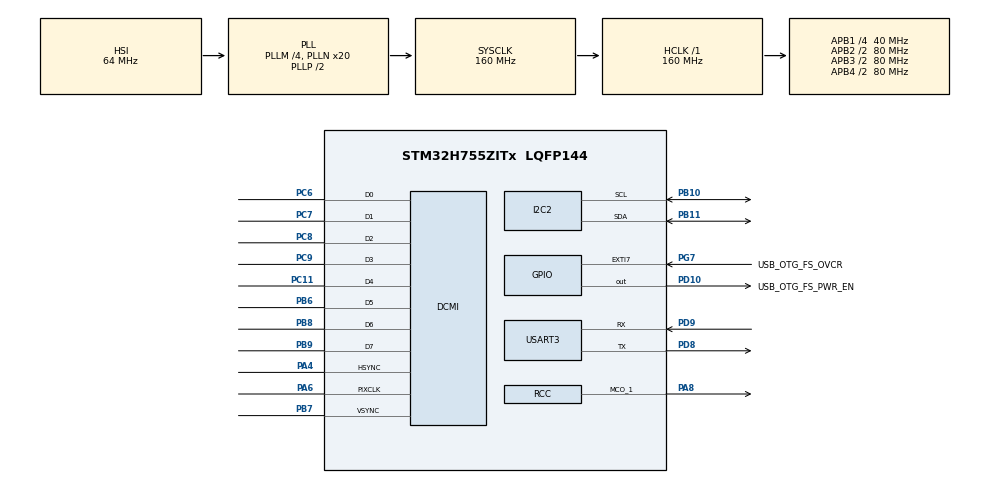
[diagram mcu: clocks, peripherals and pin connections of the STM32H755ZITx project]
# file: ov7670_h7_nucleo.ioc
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CortexM4.IPs=FATFS_M4\:I,FREERTOS_M4\:I,IWDG2\:I,RCC,WWDG2\:I,DMA,BDMA,MDMA,NVIC2\:I,USART3,DEBUG,PDM2PCM_M4\:I,PWR,RESMGR_UTILITY,SYS_M4\:I,USB_DEVICE_M4\:I,USB_HOST_M4\:I,CORTEX_M4\:I,GPIO,OPENAMP_M4\:I,VREFBUF,NUCLEO-H755ZI-Q
CortexM7.IPs=FATFS_M7\:I,FREERTOS_M7\:I,IWDG1\:I,RCC\:I,WWDG1\:I,DMA\:I,BDMA\:I,MDMA\:I,NVIC1\:I,USART3\:I,SYS\:I,CORTEX_M7\:I,DEBUG\:I,PDM2PCM_M7\:I,PWR\:I,RESMGR_UTILITY\:I,USB_DEVICE_M7\:I,USB_HOST_M7\:I,GPIO\:I,OPENAMP_M7\:I,VREFBUF\:I,NUCLEO-H755ZI-Q\:I,I2C2\:I,DCMI\:I
DCMI.HSPolarity=DCMI_HSPOLARITY_LOW
DCMI.JPEGMode=DCMI_JPEG_DISABLE
DCMI.PCKPolarity=DCMI_PCKPOLARITY_RISING
DCMI.VSPolarity=DCMI_VSPOLARITY_HIGH
Dma.DCMI.0.Direction=DMA_PERIPH_TO_MEMORY
Dma.DCMI.0.EventEnable=DISABLE
Dma.DCMI.0.FIFOMode=DMA_FIFOMODE_ENABLE
Dma.DCMI.0.FIFOThreshold=DMA_FIFO_THRESHOLD_FULL
Dma.DCMI.0.Instance=DMA1_Stream0
Dma.DCMI.0.MemBurst=DMA_MBURST_SINGLE
Dma.DCMI.0.MemDataAlignment=DMA_MDATAALIGN_WORD
Dma.DCMI.0.MemInc=DMA_MINC_ENABLE
Dma.DCMI.0.Mode=DMA_NORMAL
Dma.DCMI.0.PeriphBurst=DMA_PBURST_SINGLE
Dma.DCMI.0.PeriphDataAlignment=DMA_PDATAALIGN_WORD
Dma.DCMI.0.PeriphInc=DMA_PINC_DISABLE
Dma.DCMI.0.Polarity=HAL_DMAMUX_REQ_GEN_RISING
Dma.DCMI.0.Priority=DMA_PRIORITY_LOW
Dma.DCMI.0.RequestNumber=1
Dma.DCMI.0.SignalID=NONE
Dma.DCMI.0.SyncEnable=DISABLE
Dma.DCMI.0.SyncPolarity=HAL_DMAMUX_SYNC_NO_EVENT
Dma.DCMI.0.SyncRequestNumber=1
Dma.DCMI.0.SyncSignalID=NONE
Dma.Request0=DCMI
I2C2.Timing=0x00909BEB
Mcu.Family=STM32H7
Mcu.Name=STM32H755ZITx
Mcu.Package=LQFP144
NVIC1.DCMI_IRQn=true\:0\:0\:false\:false\:true\:true\:true\:true
NVIC1.DMA1_Stream0_IRQn=true\:0\:0\:false\:false\:true\:false\:true\:true
NVIC1.PriorityGroup=NVIC_PRIORITYGROUP_4
NVIC2.PriorityGroup=NVIC_PRIORITYGROUP_4
PA1.PinAttribute=CortexM4
PA1.Signal=ETH_REF_CLK
PA11.PinAttribute=CortexM7
PA11.Signal=USB_OTG_FS_DM
PA12.PinAttribute=CortexM7
PA12.Signal=USB_OTG_FS_DP
PA2.PinAttribute=CortexM4
PA2.Signal=ETH_MDIO
PA4.GPIO_Speed=GPIO_SPEED_FREQ_VERY_HIGH
PA4.Mode=Slave_8_bits_External_Synchro
PA4.PinAttribute=CortexM7
PA4.Signal=DCMI_HSYNC
PA6.GPIO_Speed=GPIO_SPEED_FREQ_VERY_HIGH
PA6.Mode=Slave_8_bits_External_Synchro
PA6.PinAttribute=CortexM7
PA6.Signal=DCMI_PIXCLK
PA7.PinAttribute=CortexM4
PA7.Signal=ETH_CRS_DV
PA8.Mode=Clock-out-1
PA8.PinAttribute=Free
PA8.Signal=RCC_MCO_1
PB10.GPIO_Speed=GPIO_SPEED_FREQ_VERY_HIGH
PB10.Mode=I2C
PB10.PinAttribute=CortexM7
PB10.Signal=I2C2_SCL
PB11.GPIO_Speed=GPIO_SPEED_FREQ_VERY_HIGH
PB11.Mode=I2C
PB11.PinAttribute=CortexM7
PB11.Signal=I2C2_SDA
PB13.PinAttribute=CortexM4
PB13.Signal=ETH_TXD1
PB6.GPIO_Speed=GPIO_SPEED_FREQ_VERY_HIGH
PB6.Mode=Slave_8_bits_External_Synchro
PB6.PinAttribute=CortexM7
PB6.Signal=DCMI_D5
PB7.GPIO_Speed=GPIO_SPEED_FREQ_VERY_HIGH
PB7.Mode=Slave_8_bits_External_Synchro
PB7.PinAttribute=CortexM7
PB7.Signal=DCMI_VSYNC
PB8.GPIO_Speed=GPIO_SPEED_FREQ_VERY_HIGH
PB8.Mode=Slave_8_bits_External_Synchro
PB8.PinAttribute=CortexM7
PB8.Signal=DCMI_D6
PB9.GPIO_Speed=GPIO_SPEED_FREQ_VERY_HIGH
PB9.Mode=Slave_8_bits_External_Synchro
PB9.PinAttribute=CortexM7
PB9.Signal=DCMI_D7
PC1.PinAttribute=CortexM4
PC1.Signal=ETH_MDC
PC11.GPIO_Speed=GPIO_SPEED_FREQ_VERY_HIGH
PC11.Mode=Slave_8_bits_External_Synchro
PC11.PinAttribute=CortexM7
PC11.Signal=DCMI_D4
PC14-OSC32_IN\ (OSC32_IN).PinAttribute=Free
PC14-OSC32_IN\ (OSC32_IN).Signal=RCC_OSC32_IN
PC15-OSC32_OUT\ (OSC32_OUT).PinAttribute=Free
PC15-OSC32_OUT\ (OSC32_OUT).Signal=RCC_OSC32_OUT
PC4.PinAttribute=CortexM4
PC4.Signal=ETH_RXD0
PC5.PinAttribute=CortexM4
PC5.Signal=ETH_RXD1
PC6.GPIO_Speed=GPIO_SPEED_FREQ_VERY_HIGH
PC6.Mode=Slave_8_bits_External_Synchro
PC6.PinAttribute=CortexM7
PC6.Signal=DCMI_D0
PC7.GPIO_Speed=GPIO_SPEED_FREQ_VERY_HIGH
PC7.Mode=Slave_8_bits_External_Synchro
PC7.PinAttribute=CortexM7
PC7.Signal=DCMI_D1
PC8.GPIO_Speed=GPIO_SPEED_FREQ_VERY_HIGH
PC8.Mode=Slave_8_bits_External_Synchro
PC8.PinAttribute=CortexM7
PC8.Signal=DCMI_D2
PC9.GPIO_Speed=GPIO_SPEED_FREQ_VERY_HIGH
PC9.Mode=Slave_8_bits_External_Synchro
PC9.PinAttribute=CortexM7
PC9.Signal=DCMI_D3
PD10.GPIO_Label=USB_OTG_FS_PWR_EN
PD10.PinAttribute=Free
PD10.Signal=GPIO_Output
PD8.Mode=Asynchronous
PD8.PinAttribute=CortexM7
PD8.Signal=USART3_TX
PD9.Mode=Asynchronous
PD9.PinAttribute=CortexM7
PD9.Signal=USART3_RX
PG11.PinAttribute=CortexM4
PG11.Signal=ETH_TX_EN
PG13.PinAttribute=CortexM4
PG13.Signal=ETH_TXD0
PG7.GPIO_Label=USB_OTG_FS_OVCR
PG7.PinAttribute=Free
PG7.Signal=GPXTI7
PH0-OSC_IN\ (PH0).PinAttribute=Free
PH0-OSC_IN\ (PH0).Signal=RCC_OSC_IN
PH1-OSC_OUT\ (PH1).PinAttribute=Free
PH1-OSC_OUT\ (PH1).Signal=RCC_OSC_OUT
ProjectManager.HeapSize=M4-0x200,M7-0x200
ProjectManager.StackSize=M4-0x400,M7-0x400
ProjectManager.TargetToolchain=STM32CubeIDE
RCC.ADCFreq_Value=20000000
RCC.APB1Freq_Value=40000000
RCC.APB2Freq_Value=80000000
RCC.APB3Freq_Value=80000000
RCC.APB4Freq_Value=80000000
RCC.CortexFreq_Value=160000000
RCC.D1PPRE=RCC_APB3_DIV2
RCC.D2PPRE1=RCC_APB1_DIV4
RCC.D2PPRE2=RCC_APB2_DIV2
RCC.D3PPRE=RCC_APB4_DIV2
RCC.DIVM1=4
RCC.DIVM2=4
RCC.DIVN1=20
RCC.DIVN2=10
RCC.DIVP2=8
RCC.DIVQ1=5
RCC.HCLKFreq_Value=160000000
RCC.PLL2FRACN=0
RCC.PLL3FRACN=0
RCC.PLLFRACN=0
RCC.RCC_MCO2Source=RCC_MCO2SOURCE_PLL2PCLK
RCC.RCC_MCODiv1=RCC_MCODIV_4
RCC.SYSCLKFreq_VALUE=160000000
RCC.SYSCLKSource=RCC_SYSCLKSOURCE_PLLCLK
RCC.SupplySource=PWR_DIRECT_SMPS_SUPPLY
RCC.USBFreq_Value=64000000
USART3.VirtualMode-Asynchronous=VM_ASYNC
VP_SYS_M4_VS_Systick.Mode=SysTick
board=NUCLEO-H755ZI-Q

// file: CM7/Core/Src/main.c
/* USER CODE BEGIN Header */
/**
  ******************************************************************************
  * @file           : main.c
  * @brief          : Main program body
  ******************************************************************************
  * @attention
  *
  * Copyright (c) 2026 STMicroelectronics.
  * All rights reserved.
  *
  * This software is licensed under terms that can be found in the LICENSE file
  * in the root directory of this software component.
  * If no LICENSE file comes with this software, it is provided AS-IS.
  *
  ******************************************************************************
  */
/* USER CODE END Header */
#include "main.h"

/* USER CODE BEGIN Includes */
#include <stdio.h>
#include <string.h>
/* USER CODE END Includes */

/* USER CODE BEGIN PD */

/* DUAL_CORE_BOOT_SYNC_SEQUENCE: Define for dual core boot synchronization    */
/*                             demonstration code based on hardware semaphore */
/* This define is present in both CM7/CM4 projects                            */
/* To comment when developping/debugging on a single core                     */
#define DUAL_CORE_BOOT_SYNC_SEQUENCE

#if defined(DUAL_CORE_BOOT_SYNC_SEQUENCE)
#ifndef HSEM_ID_0
#define HSEM_ID_0 (0U) /* HW semaphore 0*/
#endif
#endif /* DUAL_CORE_BOOT_SYNC_SEQUENCE */

/* USER CODE END PD */

DCMI_HandleTypeDef hdcmi;
DMA_HandleTypeDef hdma_dcmi;

I2C_HandleTypeDef hi2c2;

UART_HandleTypeDef huart3;

/* USER CODE BEGIN PV */
#define OV7670_ADDR  0x42    /* 8-bit SCCB write address; HAL adds the R/W bit  */
#define BUF_WORDS    40000   /* 160 KB: 320x240 RGB565 = 153,600 B + margin */

/* Lands in AXI SRAM (0x24xxxxxx) with this project's linker script: DMA1 can
   reach it. DTCM (0x20xxxxxx) would NOT work. D-cache is off, so no cache
   maintenance is needed yet. */
static uint32_t frame[BUF_WORDS] __attribute__((aligned(32)));
static volatile uint8_t frame_done = 0;
/* USER CODE END PV */

void SystemClock_Config(void);
static void MX_GPIO_Init(void);
static void MX_DMA_Init(void);
static void MX_I2C2_Init(void);
static void MX_USART3_UART_Init(void);
static void MX_DCMI_Init(void);

/* USER CODE BEGIN 0 */
static void uart_print(const char *s)
{
  HAL_UART_Transmit(&huart3, (uint8_t *)s, strlen(s), 100);
}

/* SCCB read = write register address, STOP, then a separate read.
   Two transfers on purpose: the OV7670's SCCB does not support a repeated START. */
static HAL_StatusTypeDef ov_read(uint8_t reg, uint8_t *val)
{
  HAL_StatusTypeDef st = HAL_I2C_Master_Transmit(&hi2c2, OV7670_ADDR, &reg, 1, 100);
  if (st != HAL_OK) return st;
  return HAL_I2C_Master_Receive(&hi2c2, OV7670_ADDR, val, 1, 100);
}

static HAL_StatusTypeDef ov_write(uint8_t reg, uint8_t val)
{
  uint8_t b[2] = { reg, val };
  return HAL_I2C_Master_Transmit(&hi2c2, OV7670_ADDR, b, 2, 100);
}

/* HAL calls this from the DCMI interrupt when the frame ends (VSYNC). */
void HAL_DCMI_FrameEventCallback(DCMI_HandleTypeDef *h)
{
  (void)h;
  frame_done = 1;
}

/* Count level changes on PCLK (PA6), HREF (PA4), VSYNC (PB7) for 1 s by polling.
   Polling can't count every PCLK edge, but a non-zero count proves the signal
   toggles on that exact pin. */
static void sig_probe(void)
{
  uint32_t n_p = 0, n_h = 0, n_v = 0;
  uint32_t lp = GPIOA->IDR & (1u << 6);
  uint32_t lh = GPIOA->IDR & (1u << 4);
  uint32_t lv = GPIOB->IDR & (1u << 7);
  uint32_t t0 = HAL_GetTick();
  while (HAL_GetTick() - t0 < 1000) {
    uint32_t a = GPIOA->IDR, b = GPIOB->IDR;
    uint32_t p = a & (1u << 6), h = a & (1u << 4), v = b & (1u << 7);
    if (p != lp) { n_p++; lp = p; }
    if (h != lh) { n_h++; lh = h; }
    if (v != lv) { n_v++; lv = v; }
  }
  char m[120];
  snprintf(m, sizeof m, "edges/1s: PCLK(PA6)=%lu HREF(PA4)=%lu VSYNC(PB7)=%lu\r\n",
           (unsigned long)n_p, (unsigned long)n_h, (unsigned long)n_v);
  uart_print(m);
}

/* Full VGA RGB565, camera scaler OFF (the DCMI does the 2x downscale).
   Writes, then reads every register back so a silent SCCB failure can't hide. */
static void camera_config(void)
{
  char m[96];
  int fails = 0, mism = 0;

  if (ov_write(0x12, 0x80) != HAL_OK) fails++;      /* COM7: reset all regs */
  HAL_Delay(50);

  static const uint8_t cfg[][2] = {
    {0x11, 0x01},   /* CLKRC: internal clock = XCLK/2 -> PCLK ~8 MHz      */
    {0x12, 0x04},   /* COM7: VGA, RGB                                     */
    {0x40, 0xD0},   /* COM15: RGB565, full range                          */
    {0x8C, 0x00},   /* RGB444 off                                         */
    {0x0C, 0x00},   /* COM3: no DCW scaling                               */
    {0x3E, 0x00},   /* COM14: normal PCLK (no divider)                    */
    {0x70, 0x3A},   /* scaling regs at their no-scale values              */
    {0x71, 0x35},   /*   (bit7 = 0 -> NO test pattern, real image)        */
    {0x72, 0x11},
    {0x73, 0xF0},
    {0xA2, 0x02},
  };
  const int n = sizeof cfg / sizeof cfg[0];

  for (int i = 0; i < n; i++) {
    if (ov_write(cfg[i][0], cfg[i][1]) != HAL_OK) fails++;
    HAL_Delay(2);
  }
  for (int i = 0; i < n; i++) {
    uint8_t v = 0;
    ov_read(cfg[i][0], &v);
    if (v != cfg[i][1]) {
      mism++;
      snprintf(m, sizeof m, "  reg 0x%02X wrote 0x%02X read 0x%02X\r\n", cfg[i][0], cfg[i][1], v);
      uart_print(m);
    }
  }
  snprintf(m, sizeof m, "CFG write_fails=%d readback_mismatch=%d\r\n", fails, mism);
  uart_print(m);
  HAL_Delay(300);                                   /* let the camera settle */
}

/* Colour / exposure / white-balance tuning. Values from the Linux ov7670
   driver (ov7670_default_regs + ov7670_fmt_rgb565, J. Corbet, GPL-2.0).
   Clock and window registers are deliberately NOT included: our 320x240
   geometry already works and must not change. */
static void camera_tune(void)
{
  static const uint8_t t[][2] = {
    /* gamma curve */
    {0x7a,0x20},{0x7b,0x10},{0x7c,0x1e},{0x7d,0x35},{0x7e,0x5a},{0x7f,0x69},
    {0x80,0x76},{0x81,0x80},{0x82,0x88},{0x83,0x8f},{0x84,0x96},{0x85,0xa3},
    {0x86,0xaf},{0x87,0xc4},{0x88,0xd7},{0x89,0xe8},
    /* AGC/AEC: disable, set limits, re-enable */
    {0x13,0xe0},{0x00,0x00},{0x10,0x00},{0x0d,0x40},{0x14,0x18},
    {0xa5,0x05},{0xab,0x07},{0x24,0x95},{0x25,0x33},{0x26,0xe3},
    {0x9f,0x78},{0xa0,0x68},{0xa1,0x03},{0xa6,0xd8},{0xa7,0xd8},
    {0xa8,0xf0},{0xa9,0x90},{0xaa,0x94},{0x13,0xe5},
    /* reserved "magic" values from OmniVision */
    {0x0e,0x61},{0x0f,0x4b},{0x16,0x02},{0x1e,0x07},{0x21,0x02},{0x22,0x91},
    {0x29,0x07},{0x33,0x0b},{0x35,0x0b},{0x37,0x1d},{0x38,0x71},{0x39,0x2a},
    {0x3c,0x78},{0x4d,0x40},{0x4e,0x20},{0x69,0x00},{0x74,0x10},   /* 0x6B (PLL x4) removed! */
    {0x8d,0x4f},{0x8e,0x00},{0x8f,0x00},{0x90,0x00},{0x91,0x00},{0x96,0x00},
    {0x9a,0x00},{0xb0,0x84},{0xb1,0x0c},{0xb2,0x0e},{0xb3,0x82},{0xb8,0x0a},
    /* white balance */
    {0x43,0x0a},{0x44,0xf0},{0x45,0x34},{0x46,0x58},{0x47,0x28},{0x48,0x3a},
    {0x59,0x88},{0x5a,0x88},{0x5b,0x44},{0x5c,0x67},{0x5d,0x49},{0x5e,0x0e},
    {0x6c,0x0a},{0x6d,0x55},{0x6e,0x11},{0x6f,0x9f},{0x6a,0x40},{0x01,0x40},
    {0x02,0x60},{0x13,0xe7},            /* AGC + AEC + AWB on */
    /* misc: edge, denoise, banding filter */
    {0x3f,0x00},{0x75,0x05},{0x76,0xe1},{0x4c,0x00},{0x77,0x01},{0x4b,0x09},
    {0xc9,0x60},{0x56,0x40},{0x34,0x11},{0x3b,0x12},{0xa4,0x88},{0x97,0x30},
    {0x98,0x20},{0x99,0x30},{0x9a,0x84},{0x9b,0x29},{0x9c,0x03},{0x9d,0x4c},
    {0x9e,0x3f},{0x78,0x04},
    /* RGB565-specific: gain ceiling, colour matrix, gamma + UV saturation */
    {0x14,0x38},{0x4f,0xb3},{0x50,0xb3},{0x51,0x00},{0x52,0x3d},{0x53,0xa7},
    {0x54,0xe4},{0x58,0x9e},{0x3d,0xc0},{0x41,0x38},
  };
  int fails = 0;
  for (unsigned i = 0; i < sizeof t / sizeof t[0]; i++) {
    if (ov_write(t[i][0], t[i][1]) != HAL_OK) fails++;
    HAL_Delay(1);
  }
  char m[48];
  snprintf(m, sizeof m, "TUNE write_fails=%d\r\n", fails);
  uart_print(m);
  HAL_Delay(500);            /* let auto exposure / white balance settle */
}

/* Capture one frame into a deliberately oversized buffer, measure how many
   words really arrived, then send "INFO ...", "FRAME <n>\n" and n raw bytes. */
static void capture_and_send(void)
{
  char m[128];
  memset(frame, 0, sizeof frame);
  frame_done = 0;
  hdcmi.ErrorCode = HAL_DCMI_ERROR_NONE;   /* don't report errors of an old capture */
  if (HAL_DCMI_Start_DMA(&hdcmi, DCMI_MODE_SNAPSHOT, (uint32_t)frame, BUF_WORDS) != HAL_OK)
    uart_print("INFO Start_DMA FAILED\r\n");

  uint32_t t0 = HAL_GetTick();
  while (!frame_done && (HAL_GetTick() - t0) < 2000) { }   /* ~7 fps: <= 300 ms needed */

  uint32_t words = BUF_WORDS - __HAL_DMA_GET_COUNTER(hdcmi.DMA_Handle);  /* real size */
  HAL_DCMI_Stop(&hdcmi);
  uint32_t n = words * 4;

  snprintf(m, sizeof m, "INFO done=%d words=%lu bytes=%lu dcmi_err=0x%lX\r\n",
           frame_done, (unsigned long)words, (unsigned long)n, (unsigned long)hdcmi.ErrorCode);
  uart_print(m);
  snprintf(m, sizeof m, "FRAME %lu\n", (unsigned long)n);
  uart_print(m);

  uint8_t *p = (uint8_t *)frame;          /* HAL_UART_Transmit takes max 65535 bytes */
  while (n) {
    uint16_t c = (n > 32768) ? 32768 : (uint16_t)n;
    HAL_UART_Transmit(&huart3, p, c, 10000);
    p += c;
    n -= c;
  }
}
/* ---- PCLK frequency measurement -------------------------------------------
   PA6 is borrowed from the DCMI for a few ms and routed to TIM3_CH1 (AF2).
   TIM3 counts rising edges (external clock mode 1) for exactly 1 ms, timed by
   the Cortex-M7 DWT cycle counter. Counted 3 times with different input
   filters: glitches/ringing are counted only by the unfiltered version.     */
static uint32_t count_pclk_1ms(uint32_t filt)
{
  TIM3->CR1   = 0;
  TIM3->SMCR  = 0;
  TIM3->CCER  = 0;                                   /* rising edge          */
  TIM3->CCMR1 = TIM_CCMR1_CC1S_0 | (filt << TIM_CCMR1_IC1F_Pos);
  TIM3->SMCR  = (5u << TIM_SMCR_TS_Pos)              /* trigger = TI1FP1     */
              | (7u << TIM_SMCR_SMS_Pos);            /* external clock mode 1*/
  TIM3->PSC = 0; TIM3->ARR = 0xFFFF;
  TIM3->EGR = TIM_EGR_UG; TIM3->CNT = 0;

  uint32_t cyc = HAL_RCC_GetSysClockFreq() / 1000;   /* CPU cycles in 1 ms   */
  uint32_t t0 = DWT->CYCCNT;
  TIM3->CR1 = TIM_CR1_CEN;
  while (DWT->CYCCNT - t0 < cyc) { }
  TIM3->CR1 = 0;
  return TIM3->CNT;                                  /* edges in 1 ms = kHz  */
}

static void measure_pclk(void)
{
  char m[128];
  HAL_DCMI_DeInit(&hdcmi);                           /* release PA6          */

  __HAL_RCC_TIM3_CLK_ENABLE();
  GPIO_InitTypeDef g = {0};
  g.Pin = GPIO_PIN_6; g.Mode = GPIO_MODE_AF_PP; g.Pull = GPIO_NOPULL;
  g.Speed = GPIO_SPEED_FREQ_VERY_HIGH; g.Alternate = GPIO_AF2_TIM3;
  HAL_GPIO_Init(GPIOA, &g);

  CoreDebug->DEMCR |= CoreDebug_DEMCR_TRCENA_Msk;    /* enable DWT           */
  DWT->LAR = 0xC5ACCE55;                             /* unlock (Cortex-M7)   */
  DWT->CYCCNT = 0;
  DWT->CTRL |= DWT_CTRL_CYCCNTENA_Msk;

  uint32_t f0 = count_pclk_1ms(0);   /* no filter: counts glitches too       */
  uint32_t f1 = count_pclk_1ms(1);   /* ignores pulses shorter than ~25 ns   */
  uint32_t f2 = count_pclk_1ms(2);   /* ignores pulses shorter than ~50 ns   */
  snprintf(m, sizeof m, "PCLK kHz: raw=%lu  filt25ns=%lu  filt50ns=%lu\r\n",
           (unsigned long)f0, (unsigned long)f1, (unsigned long)f2);
  uart_print(m);

  HAL_GPIO_DeInit(GPIOA, GPIO_PIN_6);
  __HAL_RCC_TIM3_CLK_DISABLE();
  HAL_DCMI_Init(&hdcmi);                             /* PA6 back to DCMI     */
}
/* USER CODE END 0 */

int main(void)
{

/* USER CODE BEGIN Boot_Mode_Sequence_0 */
#if defined(DUAL_CORE_BOOT_SYNC_SEQUENCE)
  int32_t timeout;
#endif /* DUAL_CORE_BOOT_SYNC_SEQUENCE */
/* USER CODE END Boot_Mode_Sequence_0 */

/* USER CODE BEGIN Boot_Mode_Sequence_1 */
#if defined(DUAL_CORE_BOOT_SYNC_SEQUENCE)
  /* Wait until CPU2 boots and enters in stop mode or timeout*/
  timeout = 0xFFFF;
  while((__HAL_RCC_GET_FLAG(RCC_FLAG_D2CKRDY) != RESET) && (timeout-- > 0));
  if ( timeout < 0 )
  {
  Error_Handler();
  }
#endif /* DUAL_CORE_BOOT_SYNC_SEQUENCE */
/* USER CODE END Boot_Mode_Sequence_1 */
  /* MCU Configuration--------------------------------------------------------*/

  /* Reset of all peripherals, Initializes the Flash interface and the Systick. */
  HAL_Init();

  /* Configure the system clock */
  SystemClock_Config();
/* USER CODE BEGIN Boot_Mode_Sequence_2 */
#if defined(DUAL_CORE_BOOT_SYNC_SEQUENCE)
/* When system initialization is finished, Cortex-M7 will release Cortex-M4 by means of
HSEM notification */
/*HW semaphore Clock enable*/
__HAL_RCC_HSEM_CLK_ENABLE();
/*Take HSEM */
HAL_HSEM_FastTake(HSEM_ID_0);
/*Release HSEM in order to notify the CPU2(CM4)*/
HAL_HSEM_Release(HSEM_ID_0,0);
/* wait until CPU2 wakes up from stop mode */
timeout = 0xFFFF;
while((__HAL_RCC_GET_FLAG(RCC_FLAG_D2CKRDY) == RESET) && (timeout-- > 0));
if ( timeout < 0 )
{
Error_Handler();
}
#endif /* DUAL_CORE_BOOT_SYNC_SEQUENCE */
/* USER CODE END Boot_Mode_Sequence_2 */

  /* Initialize all configured peripherals */
  MX_GPIO_Init();
  MX_DMA_Init();
  MX_I2C2_Init();
  MX_USART3_UART_Init();
  MX_DCMI_Init();
  /* USER CODE BEGIN 2 */
  char msg[96];
  HAL_Delay(100);                                   /* camera wakes on XCLK */

  snprintf(msg, sizeof msg, "\r\n--- OV7670 DCMI (H755 CM7) ---\r\nframe buffer @ 0x%08lX\r\n",
           (unsigned long)(uintptr_t)frame);
  uart_print(msg);

  uint8_t pid = 0, ver = 0;
  ov_read(0x0A, &pid);
  ov_read(0x0B, &ver);
  snprintf(msg, sizeof msg, "PID=0x%02X VER=0x%02X\r\n", pid, ver);
  uart_print(msg);

  camera_config();
  camera_tune();                                    /* colours / exposure / AWB */

  /* DMA priority -> very high (CubeMX has "Low"): fewer DCMI overruns.
     Allowed only while the stream is disabled - it is, no capture yet. */
  ((DMA_Stream_TypeDef *)hdma_dcmi.Instance)->CR |= DMA_SxCR_PL;

  /* Let the DCMI downscale: keep 2 bytes of every 4 (= every other pixel)
     and every other line -> 640x480 becomes 320x240. */
  hdcmi.Init.ByteSelectMode  = DCMI_BSM_ALTERNATE_2;
  hdcmi.Init.ByteSelectStart = DCMI_OEBS_EVEN;
  hdcmi.Init.LineSelectMode  = DCMI_LSM_ALTERNATE_2;
  hdcmi.Init.LineSelectStart = DCMI_OELS_ODD;
  HAL_DCMI_Init(&hdcmi);
  measure_pclk();                                   /* real PCLK frequency */
  sig_probe();
  uart_print("READY: send 'c' for a frame\r\n");
  /* USER CODE END 2 */

  /* Infinite loop */
  while (1)
  {

    /* USER CODE BEGIN 3 */
    uint8_t cmd;
    __HAL_UART_CLEAR_OREFLAG(&huart3);    /* clear a stale overrun so RX keeps working */
    if (HAL_UART_Receive(&huart3, &cmd, 1, 100) == HAL_OK && cmd == 'c')
      capture_and_send();
  }
  /* USER CODE END 3 */
}

void SystemClock_Config(void)
{
  RCC_OscInitTypeDef RCC_OscInitStruct = {0};
  RCC_ClkInitTypeDef RCC_ClkInitStruct = {0};

  /** Supply configuration update enable
  */
  HAL_PWREx_ConfigSupply(PWR_DIRECT_SMPS_SUPPLY);

  /** Configure the main internal regulator output voltage
  */
  __HAL_PWR_VOLTAGESCALING_CONFIG(PWR_REGULATOR_VOLTAGE_SCALE3);

  while(!__HAL_PWR_GET_FLAG(PWR_FLAG_VOSRDY)) {}

  /** Initializes the RCC Oscillators according to the specified parameters
  * in the RCC_OscInitTypeDef structure.
  */
  RCC_OscInitStruct.OscillatorType = RCC_OSCILLATORTYPE_HSI;
  RCC_OscInitStruct.HSIState = RCC_HSI_DIV1;
  RCC_OscInitStruct.HSICalibrationValue = RCC_HSICALIBRATION_DEFAULT;
  RCC_OscInitStruct.PLL.PLLState = RCC_PLL_ON;
  RCC_OscInitStruct.PLL.PLLSource = RCC_PLLSOURCE_HSI;
  RCC_OscInitStruct.PLL.PLLM = 4;
  RCC_OscInitStruct.PLL.PLLN = 20;
  RCC_OscInitStruct.PLL.PLLP = 2;
  RCC_OscInitStruct.PLL.PLLQ = 5;
  RCC_OscInitStruct.PLL.PLLR = 2;
  RCC_OscInitStruct.PLL.PLLRGE = RCC_PLL1VCIRANGE_3;
  RCC_OscInitStruct.PLL.PLLVCOSEL = RCC_PLL1VCOWIDE;
  RCC_OscInitStruct.PLL.PLLFRACN = 0;
  if (HAL_RCC_OscConfig(&RCC_OscInitStruct) != HAL_OK)
  {
    Error_Handler();
  }

  /** Initializes the CPU, AHB and APB buses clocks
  */
  RCC_ClkInitStruct.ClockType = RCC_CLOCKTYPE_HCLK|RCC_CLOCKTYPE_SYSCLK
                              |RCC_CLOCKTYPE_PCLK1|RCC_CLOCKTYPE_PCLK2
                              |RCC_CLOCKTYPE_D3PCLK1|RCC_CLOCKTYPE_D1PCLK1;
  RCC_ClkInitStruct.SYSCLKSource = RCC_SYSCLKSOURCE_PLLCLK;
  RCC_ClkInitStruct.SYSCLKDivider = RCC_SYSCLK_DIV1;
  RCC_ClkInitStruct.AHBCLKDivider = RCC_HCLK_DIV1;
  RCC_ClkInitStruct.APB3CLKDivider = RCC_APB3_DIV2;
  RCC_ClkInitStruct.APB1CLKDivider = RCC_APB1_DIV4;
  RCC_ClkInitStruct.APB2CLKDivider = RCC_APB2_DIV2;
  RCC_ClkInitStruct.APB4CLKDivider = RCC_APB4_DIV2;

  if (HAL_RCC_ClockConfig(&RCC_ClkInitStruct, FLASH_LATENCY_3) != HAL_OK)
  {
    Error_Handler();
  }
  HAL_RCC_MCOConfig(RCC_MCO1, RCC_MCO1SOURCE_HSI, RCC_MCODIV_4);
}

static void MX_DCMI_Init(void)
{

  hdcmi.Instance = DCMI;
  hdcmi.Init.SynchroMode = DCMI_SYNCHRO_HARDWARE;
  hdcmi.Init.PCKPolarity = DCMI_PCKPOLARITY_RISING;
  hdcmi.Init.VSPolarity = DCMI_VSPOLARITY_HIGH;
  hdcmi.Init.HSPolarity = DCMI_HSPOLARITY_LOW;
  hdcmi.Init.CaptureRate = DCMI_CR_ALL_FRAME;
  hdcmi.Init.ExtendedDataMode = DCMI_EXTEND_DATA_8B;
  hdcmi.Init.JPEGMode = DCMI_JPEG_DISABLE;
  hdcmi.Init.ByteSelectMode = DCMI_BSM_ALL;
  hdcmi.Init.ByteSelectStart = DCMI_OEBS_ODD;
  hdcmi.Init.LineSelectMode = DCMI_LSM_ALL;
  hdcmi.Init.LineSelectStart = DCMI_OELS_ODD;
  if (HAL_DCMI_Init(&hdcmi) != HAL_OK)
  {
    Error_Handler();
  }

}

static void MX_I2C2_Init(void)
{

  hi2c2.Instance = I2C2;
  hi2c2.Init.Timing = 0x00909BEB;
  hi2c2.Init.OwnAddress1 = 0;
  hi2c2.Init.AddressingMode = I2C_ADDRESSINGMODE_7BIT;
  hi2c2.Init.DualAddressMode = I2C_DUALADDRESS_DISABLE;
  hi2c2.Init.OwnAddress2 = 0;
  hi2c2.Init.OwnAddress2Masks = I2C_OA2_NOMASK;
  hi2c2.Init.GeneralCallMode = I2C_GENERALCALL_DISABLE;
  hi2c2.Init.NoStretchMode = I2C_NOSTRETCH_DISABLE;
  if (HAL_I2C_Init(&hi2c2) != HAL_OK)
  {
    Error_Handler();
  }

  /** Configure Analogue filter
  */
  if (HAL_I2CEx_ConfigAnalogFilter(&hi2c2, I2C_ANALOGFILTER_ENABLE) != HAL_OK)
  {
    Error_Handler();
  }

  /** Configure Digital filter
  */
  if (HAL_I2CEx_ConfigDigitalFilter(&hi2c2, 0) != HAL_OK)
  {
    Error_Handler();
  }

}

static void MX_USART3_UART_Init(void)
{

  huart3.Instance = USART3;
  huart3.Init.BaudRate = 115200;
  huart3.Init.WordLength = UART_WORDLENGTH_8B;
  huart3.Init.StopBits = UART_STOPBITS_1;
  huart3.Init.Parity = UART_PARITY_NONE;
  huart3.Init.Mode = UART_MODE_TX_RX;
  huart3.Init.HwFlowCtl = UART_HWCONTROL_NONE;
  huart3.Init.OverSampling = UART_OVERSAMPLING_16;
  huart3.Init.OneBitSampling = UART_ONE_BIT_SAMPLE_DISABLE;
  huart3.Init.ClockPrescaler = UART_PRESCALER_DIV1;
  huart3.AdvancedInit.AdvFeatureInit = UART_ADVFEATURE_NO_INIT;
  if (HAL_UART_Init(&huart3) != HAL_OK)
  {
    Error_Handler();
  }
  if (HAL_UARTEx_SetTxFifoThreshold(&huart3, UART_TXFIFO_THRESHOLD_1_8) != HAL_OK)
  {
    Error_Handler();
  }
  if (HAL_UARTEx_SetRxFifoThreshold(&huart3, UART_RXFIFO_THRESHOLD_1_8) != HAL_OK)
  {
    Error_Handler();
  }
  if (HAL_UARTEx_DisableFifoMode(&huart3) != HAL_OK)
  {
    Error_Handler();
  }

}

static void MX_DMA_Init(void)
{

  /* DMA controller clock enable */
  __HAL_RCC_DMA1_CLK_ENABLE();

  /* DMA interrupt init */
  /* DMA1_Stream0_IRQn interrupt configuration */
  HAL_NVIC_SetPriority(DMA1_Stream0_IRQn, 0, 0);
  HAL_NVIC_EnableIRQ(DMA1_Stream0_IRQn);

}

static void MX_GPIO_Init(void)
{
  GPIO_InitTypeDef GPIO_InitStruct = {0};

  /* GPIO Ports Clock Enable */
  __HAL_RCC_GPIOA_CLK_ENABLE();
  __HAL_RCC_GPIOB_CLK_ENABLE();
  __HAL_RCC_GPIOD_CLK_ENABLE();
  __HAL_RCC_GPIOC_CLK_ENABLE();

  /*Configure GPIO pins : PA11 PA12 */
  GPIO_InitStruct.Pin = GPIO_PIN_11|GPIO_PIN_12;
  GPIO_InitStruct.Mode = GPIO_MODE_AF_PP;
  GPIO_InitStruct.Pull = GPIO_NOPULL;
  GPIO_InitStruct.Speed = GPIO_SPEED_FREQ_LOW;
  GPIO_InitStruct.Alternate = GPIO_AF10_OTG1_FS;
  HAL_GPIO_Init(GPIOA, &GPIO_InitStruct);

}

void Error_Handler(void)
{
  __disable_irq();
  while (1)
  {
  }
}
